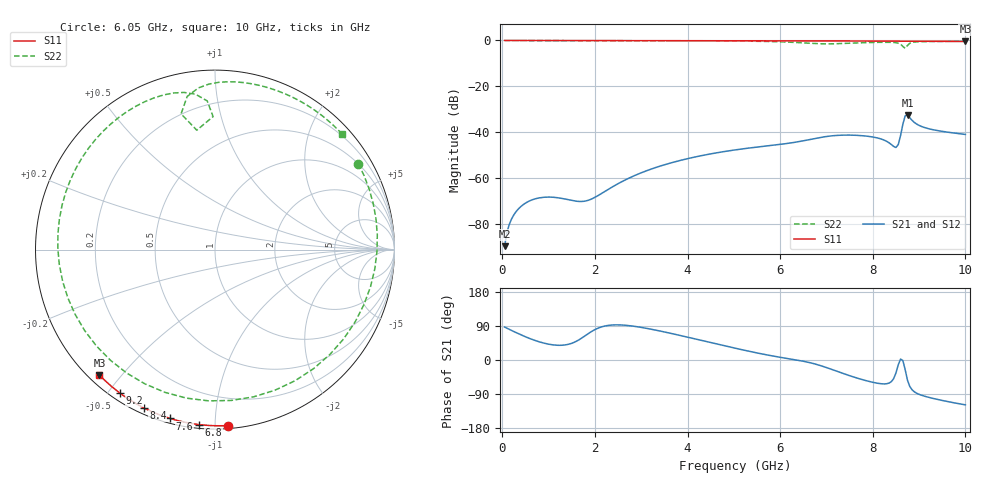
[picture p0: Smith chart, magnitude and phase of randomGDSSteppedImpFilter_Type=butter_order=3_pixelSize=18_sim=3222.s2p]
! freq	dB(S11)	phase(S11)	dB(S12)	phase(S12)
!  dB(S21)	phase(S21)	dB(S22)	phase(S22)
!S-par simulation data
#  GHz  S  DB  R 50
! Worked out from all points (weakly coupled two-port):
!   200 points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, 50 MHz to 10 GHz, reference 50 ohm
!   highest |S21| = -32.55 dB at 8.75 GHz (marker M1); lowest = -89.7 dB at 50 MHz (marker M2)
!   lowest |S11| = -0.4 dB at 10 GHz (marker M3), VSWR 38.91, Z = 1.53 - j21.9 ohm
!   |S11| at or under -10 dB: nowhere
!   |S22| runs from -3.4 to 0.0 dB; largest |S21 - S12| = 0
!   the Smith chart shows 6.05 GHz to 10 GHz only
!   S11 on the Smith chart (normalised r, x): 6.05 GHz: 0.02, -1.08; 6.8 GHz: 0.02, -0.91; 7.6 GHz: 0.02, -0.77; 8.4 GHz: 0.02, -0.65; 9.2 GHz: 0.03, -0.54; 10 GHz: 0.03, -0.44
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0.05  -0.00 -0.8  -89.73 87.0  -89.73 87.0  -0.00 -5.4
0.45  -0.01 -6.9  -71.64 63.9  -71.64 63.9  -0.06 -46.6
0.8  -0.02 -12.2  -68.66 47.9  -68.66 47.9  -0.09 -77.9
1.75  -0.03 -26.5  -70.18 60.7  -70.18 60.7  -0.11 -138.3
2.5  -0.05 -37.5  -62.47 92.8  -62.47 92.8  -0.12 -170.7
3.4  -0.07 -50.4  -54.86 76.6  -54.86 76.6  -0.14 157.0
5.05  -0.11 -72.9  -47.68 30.5  -47.68 30.5  -0.26 94.6
5.6  -0.13 -80.1  -46.27 16.2  -46.27 16.2  -0.39 65.0
6.05  -0.15 -85.8  -45.20 6.1  -45.20 6.1  -0.62 31.0
6.4  -0.17 -90.2  -44.14 -1.0  -44.14 -1.0  -0.95 -6.9
6.7  -0.18 -94.0  -42.97 -8.8  -42.97 -8.8  -1.30 -50.4
6.8  -0.19 -95.2  -42.57 -12.1  -42.57 -12.1  -1.39 -66.9
7  -0.20 -97.6  -41.89 -20.0  -41.89 -20.0  -1.49 -100.9
7.25  -0.21 -100.7  -41.39 -30.8  -41.39 -30.8  -1.40 -140.9
7.6  -0.23 -104.9  -41.33 -45.4  -41.33 -45.4  -1.11 174.2
8.35  -0.29 -113.7  -44.61 -61.0  -44.61 -61.0  -0.81 111.9
8.4  -0.29 -114.3  -45.37 -57.3  -45.37 -57.3  -0.84 108.4
8.55  -0.31 -116.1  -45.43 -12.7  -45.43 -12.7  -1.19 97.1
8.7  -0.33 -117.8  -32.86 -25.7  -32.86 -25.7  -3.44 98.7
8.75  -0.33 -118.4  -32.55 -53.5  -32.55 -53.5  -2.16 104.0
9.2  -0.36 -123.5  -38.47 -98.3  -38.47 -98.3  -0.47 75.2
10  -0.45 -132.7  -41.00 -118.4  -41.00 -118.4  -0.38 42.2
